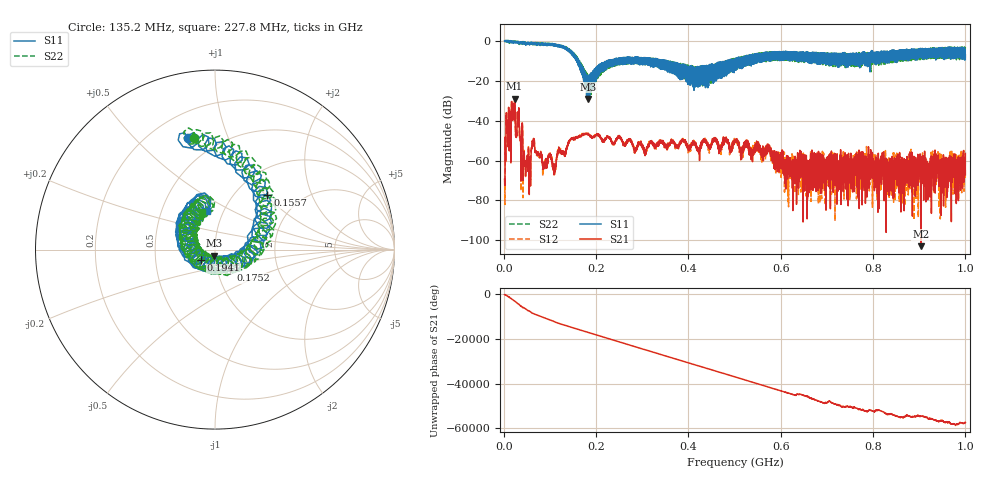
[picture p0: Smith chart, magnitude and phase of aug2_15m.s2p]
!Keysight Technologies N9923A: A.12.45
!Date: Saturday, 02 August 2025 19:01:46
!Timezone: (UTC+08:00) Kuala Lumpur, Singapore
!Model: N9923A
!Serial: MY61181427
!GPS Latitude:
!GPS Longitude:
!GPS TimeStamp: 0001-01-01 00:00:00Z
!GPS Seconds Since Last Read: 0
!CHECKSUM:0983631155
!Correction: S11(ON U)S21(ON U)S12(ON U)S22(ON U)
!S2P File: Measurements:S11,S21,S12,S22:
# Hz S DB R 50
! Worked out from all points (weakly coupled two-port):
!   4001 points, 2 MHz to 1 GHz, reference 50 ohm
!   highest |S21| = -29.02 dB at 23.71 MHz (marker M1); lowest = -102.9 dB at 903.4 MHz (marker M2)
!   lowest |S11| = -29.2 dB at 182.9 MHz (marker M3), VSWR 1.07, Z = 49.2 - j3.36 ohm
!   |S11| at or under -10 dB: 162.5 MHz to 223.5 MHz (61.06 MHz wide, 31.6 % of centre); 223.6 MHz to 225.2 MHz (1.666 MHz wide, 0.743 % of centre); 352.8 MHz to 484.7 MHz (131.9 MHz wide, 31.5 % of centre) (the widest 3 of 252)
!   |S22| runs from -28.6 to 0.1 dB; largest |S21 - S12| = 0.0025
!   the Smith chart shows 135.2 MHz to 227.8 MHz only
!   S11 on the Smith chart (normalised r, x): 135.2 MHz: 0.34, +0.73; 155.7 MHz: 1.38, +1.03; 175.2 MHz: 1.15, -0.27; 194.1 MHz: 0.85, -0.10; 227.8 MHz: 0.84, +0.38
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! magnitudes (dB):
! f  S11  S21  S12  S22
! 2 MHz  -0.1  -69.5  -69.1  -0.1
! 9.735 MHz  -0.1  -44.4  -44.3  0.0
! 23.71 MHz  -0.7  -29.0  -29.0  -0.7
! 36.43 MHz  -1.1  -50.1  -50.0  -0.9
! 46.66 MHz  -0.8  -62.5  -61.4  -1.4
! 64.38 MHz  -2.0  -49.4  -49.1  -1.6
! 109 MHz  -1.6  -67.2  -66.2  -1.6
! 135.2 MHz  -3.9  -53.9  -55.1  -4.0
! 155.7 MHz  -7.5  -48.6  -48.9  -7.2
! 168.4 MHz  -14.8  -47.5  -47.5  -15.1
! 175.2 MHz  -17.0  -46.8  -46.7  -18.6
! 182.9 MHz  -29.2  -46.9  -47.0  -23.6
! 194.1 MHz  -20.1  -48.3  -47.8  -17.6
! 227.8 MHz  -13.1  -48.7  -48.8  -13.0
! 334.8 MHz  -11.7  -51.6  -51.5  -9.8
! 417.2 MHz  -22.8  -53.0  -52.8  -15.9
! 501 MHz  -12.3  -51.0  -50.6  -13.2
! 667.4 MHz  -6.8  -74.3  -71.6  -10.2
! 821.9 MHz  -8.7  -59.7  -59.9  -6.2
! 833.8 MHz  -6.8  -64.5  -66.4  -7.7
! 903.4 MHz  -5.0  -102.9  -66.1  -7.4
! 1 GHz  -7.1  -56.5  -67.9  -3.1
